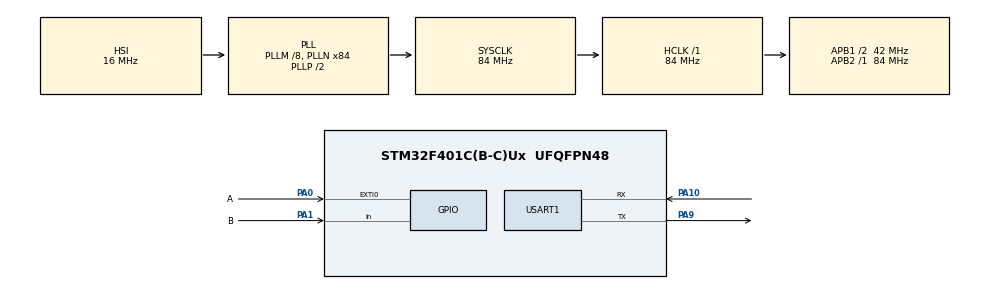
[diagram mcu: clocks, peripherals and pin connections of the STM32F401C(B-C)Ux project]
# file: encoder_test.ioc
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Mcu.Family=STM32F4
Mcu.Name=STM32F401C(B-C)Ux
Mcu.Package=UFQFPN48
NVIC.EXTI0_IRQn=true\:0\:0\:false\:false\:true\:true\:true\:true
NVIC.PriorityGroup=NVIC_PRIORITYGROUP_4
PA0-WKUP.GPIO_Label=A
PA0-WKUP.GPIO_ModeDefaultEXTI=GPIO_MODE_IT_RISING
PA0-WKUP.GPIO_PuPd=GPIO_PULLUP
PA0-WKUP.Signal=GPXTI0
PA1.GPIO_Label=B
PA1.GPIO_PuPd=GPIO_PULLUP
PA1.Signal=GPIO_Input
PA10.Mode=Asynchronous
PA10.Signal=USART1_RX
PA9.Mode=Asynchronous
PA9.Signal=USART1_TX
ProjectManager.HeapSize=0x200
ProjectManager.StackSize=0x400
ProjectManager.TargetToolchain=STM32CubeIDE
RCC.48MHZClocksFreq_Value=42000000
RCC.AHBFreq_Value=84000000
RCC.APB1CLKDivider=RCC_HCLK_DIV2
RCC.APB1Freq_Value=42000000
RCC.APB1TimFreq_Value=84000000
RCC.APB2Freq_Value=84000000
RCC.APB2TimFreq_Value=84000000
RCC.CortexFreq_Value=84000000
RCC.HCLKFreq_Value=84000000
RCC.HSE_VALUE=25000000
RCC.HSI_VALUE=16000000
RCC.LSE_VALUE=32768
RCC.PLLM=8
RCC.PLLN=84
RCC.SYSCLKFreq_VALUE=84000000
RCC.SYSCLKSource=RCC_SYSCLKSOURCE_PLLCLK
RCC.VCOOutputFreq_Value=168000000
USART1.VirtualMode=VM_ASYNC
board=custom

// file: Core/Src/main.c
/* USER CODE BEGIN Header */
/**
  ******************************************************************************
  * @file           : main.c
  * @brief          : Main program body
  ******************************************************************************
  * @attention
  *
  * Copyright (c) 2025 STMicroelectronics.
  * All rights reserved.
  *
  * This software is licensed under terms that can be found in the LICENSE file
  * in the root directory of this software component.
  * If no LICENSE file comes with this software, it is provided AS-IS.
  *
  ******************************************************************************
  */
/* USER CODE END Header */
#include "main.h"

/* USER CODE BEGIN Includes */
volatile int32_t encoder_count = 0;
volatile uint32_t last_tick =0;
volatile uint8_t lastA = 0;

/* USER CODE END Includes */

UART_HandleTypeDef huart1;

void SystemClock_Config(void);
static void MX_GPIO_Init(void);
static void MX_USART1_UART_Init(void);

int main(void)
{

  /* MCU Configuration--------------------------------------------------------*/

  /* Reset of all peripherals, Initializes the Flash interface and the Systick. */
  HAL_Init();

  /* Configure the system clock */
  SystemClock_Config();

  /* Initialize all configured peripherals */
  MX_GPIO_Init();
  MX_USART1_UART_Init();
  /* USER CODE BEGIN 2 */
  int32_t pos;
  /* USER CODE END 2 */

  /* Infinite loop */
  /* USER CODE BEGIN WHILE */
  while (1)
  {

	  __disable_irq();
	  pos = encoder_count;
	  __enable_irq();

	  char buf[32];
	  int len = snprintf(buf, sizeof(buf), "%ld\r\n", pos);
	  HAL_UART_Transmit(&huart1, (uint8_t*)buf, len, HAL_MAX_DELAY);

	  HAL_Delay(100);

    /* USER CODE END WHILE */

  }
}

void SystemClock_Config(void)
{
  RCC_OscInitTypeDef RCC_OscInitStruct = {0};
  RCC_ClkInitTypeDef RCC_ClkInitStruct = {0};

  /** Configure the main internal regulator output voltage
  */
  __HAL_RCC_PWR_CLK_ENABLE();
  __HAL_PWR_VOLTAGESCALING_CONFIG(PWR_REGULATOR_VOLTAGE_SCALE2);

  /** Initializes the RCC Oscillators according to the specified parameters
  * in the RCC_OscInitTypeDef structure.
  */
  RCC_OscInitStruct.OscillatorType = RCC_OSCILLATORTYPE_HSI;
  RCC_OscInitStruct.HSIState = RCC_HSI_ON;
  RCC_OscInitStruct.HSICalibrationValue = RCC_HSICALIBRATION_DEFAULT;
  RCC_OscInitStruct.PLL.PLLState = RCC_PLL_ON;
  RCC_OscInitStruct.PLL.PLLSource = RCC_PLLSOURCE_HSI;
  RCC_OscInitStruct.PLL.PLLM = 8;
  RCC_OscInitStruct.PLL.PLLN = 84;
  RCC_OscInitStruct.PLL.PLLP = RCC_PLLP_DIV2;
  RCC_OscInitStruct.PLL.PLLQ = 4;
  if (HAL_RCC_OscConfig(&RCC_OscInitStruct) != HAL_OK)
  {
    Error_Handler();
  }

  /** Initializes the CPU, AHB and APB buses clocks
  */
  RCC_ClkInitStruct.ClockType = RCC_CLOCKTYPE_HCLK|RCC_CLOCKTYPE_SYSCLK
                              |RCC_CLOCKTYPE_PCLK1|RCC_CLOCKTYPE_PCLK2;
  RCC_ClkInitStruct.SYSCLKSource = RCC_SYSCLKSOURCE_PLLCLK;
  RCC_ClkInitStruct.AHBCLKDivider = RCC_SYSCLK_DIV1;
  RCC_ClkInitStruct.APB1CLKDivider = RCC_HCLK_DIV2;
  RCC_ClkInitStruct.APB2CLKDivider = RCC_HCLK_DIV1;

  if (HAL_RCC_ClockConfig(&RCC_ClkInitStruct, FLASH_LATENCY_2) != HAL_OK)
  {
    Error_Handler();
  }
}

static void MX_USART1_UART_Init(void)
{

  huart1.Instance = USART1;
  huart1.Init.BaudRate = 115200;
  huart1.Init.WordLength = UART_WORDLENGTH_8B;
  huart1.Init.StopBits = UART_STOPBITS_1;
  huart1.Init.Parity = UART_PARITY_NONE;
  huart1.Init.Mode = UART_MODE_TX_RX;
  huart1.Init.HwFlowCtl = UART_HWCONTROL_NONE;
  huart1.Init.OverSampling = UART_OVERSAMPLING_16;
  if (HAL_UART_Init(&huart1) != HAL_OK)
  {
    Error_Handler();
  }

}

static void MX_GPIO_Init(void)
{
  GPIO_InitTypeDef GPIO_InitStruct = {0};

  /* GPIO Ports Clock Enable */
  __HAL_RCC_GPIOA_CLK_ENABLE();

  /*Configure GPIO pin : A_Pin */
  GPIO_InitStruct.Pin = A_Pin;
  GPIO_InitStruct.Mode = GPIO_MODE_IT_RISING;
  GPIO_InitStruct.Pull = GPIO_PULLUP;
  HAL_GPIO_Init(A_GPIO_Port, &GPIO_InitStruct);

  /*Configure GPIO pin : B_Pin */
  GPIO_InitStruct.Pin = B_Pin;
  GPIO_InitStruct.Mode = GPIO_MODE_INPUT;
  GPIO_InitStruct.Pull = GPIO_PULLUP;
  HAL_GPIO_Init(B_GPIO_Port, &GPIO_InitStruct);

  /* EXTI interrupt init*/
  HAL_NVIC_SetPriority(EXTI0_IRQn, 0, 0);
  HAL_NVIC_EnableIRQ(EXTI0_IRQn);

}

/* USER CODE BEGIN 4 */
void HAL_GPIO_EXTI_Callback(uint16_t GPIO_Pin)
{
    if (GPIO_Pin == GPIO_PIN_0)   // Encoder A
    {
        // Simple debounce (2 ms)
        if (HAL_GetTick() - last_tick < 2)
            return;

        last_tick = HAL_GetTick();

        // Read Encoder B to determine direction
        if (HAL_GPIO_ReadPin(GPIOA, GPIO_PIN_1) == GPIO_PIN_RESET)
        {
            encoder_count++;   // Clockwise
        }
        else
        {
            encoder_count--;   // Counter-clockwise
        }
    }
}

/* USER CODE END 4 */

void Error_Handler(void)
{
  __disable_irq();
  while (1)
  {
  }
}
